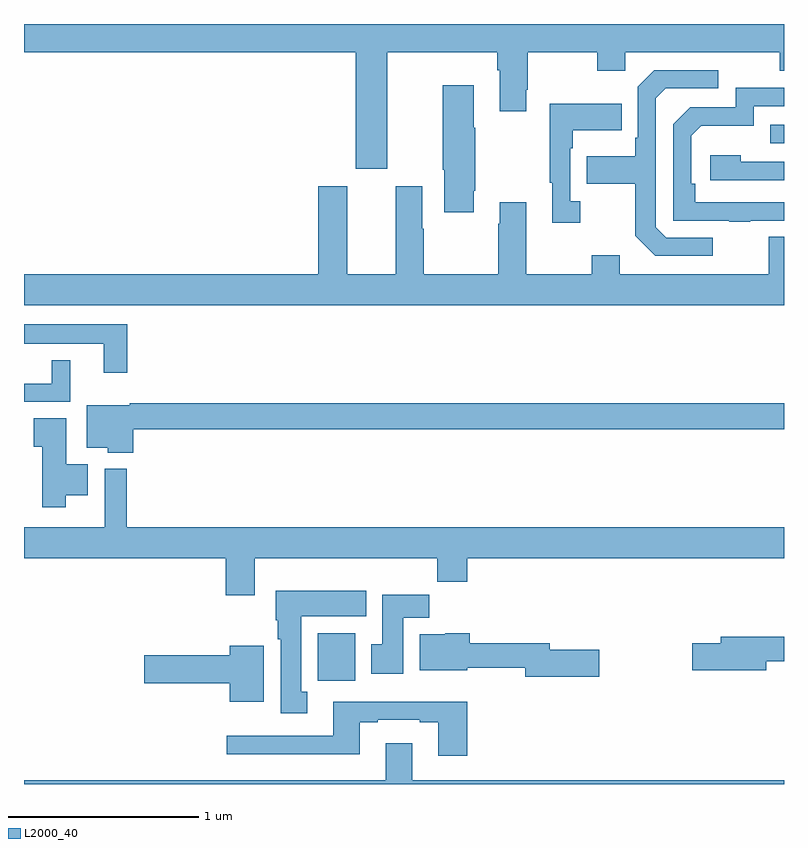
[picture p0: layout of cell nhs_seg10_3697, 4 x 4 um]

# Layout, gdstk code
import gdstk
lib = gdstk.Library(unit=1e-6, precision=1e-09)
def R(c, l, rs):  # rectangles x0, y0, x1, y1
    for r in rs: c.add(gdstk.rectangle(r[:2], r[2:], *l))
def P(c, l, *ps):  # polygons
    for p in ps: c.add(gdstk.Polygon(p, *l))
L2000_40 = (2000, 40)

nhs_seg10_3697 = lib.new_cell('nhs_seg10_3697')
R(nhs_seg10_3697, L2000_40, [(314.547,1261.044,314.743,1261.294), (316.927,1263.873,317,1263.969)])
P(nhs_seg10_3697, L2000_40, [(314.911,1264.352),(315.491,1264.352),(315.491,1264.256),(315.503,1264.256),(315.503,1264.041),(315.643,1264.041),(315.643,1264.153),(315.651,1264.153),(315.651,1264.352),(316.018,1264.352),(316.018,1264.253),(316.164,1264.253),(316.164,1264.352),(316.978,1264.352),(316.978,1264.253),(317,1264.253),(317,1264.5),(313,1264.5),(313,1264.352),(314.747,1264.352),(314.747,1263.738),(314.911,1263.738)],
  [(316.624,1263.375),(316.38,1263.375),(316.326,1263.429),(316.326,1264.11),(316.377,1264.161),(316.654,1264.161),(316.654,1264.257),(316.317,1264.257),(316.23,1264.17),(316.23,1263.901),(316.218,1263.901),(316.218,1263.805),(315.961,1263.805),(315.961,1263.658),(316.218,1263.658),(316.218,1263.385),(316.323,1263.279),(316.624,1263.279)],
  [(315.367,1263.622),(315.375,1263.622),(315.375,1263.953),(315.367,1263.953),(315.367,1264.177),(315.205,1264.177),(315.205,1263.733),(315.212,1263.733),(315.212,1263.51),(315.367,1263.51)],
  [(316.823,1263.465),(317,1263.465),(317,1263.561),(316.532,1263.561),(316.532,1263.658),(316.512,1263.658),(316.512,1263.912),(316.565,1263.965),(316.842,1263.965),(316.842,1264.068),(317,1264.068),(317,1264.164),(316.746,1264.164),(316.746,1264.062),(316.506,1264.062),(316.416,1263.972),(316.416,1263.465),(316.711,1263.465),(316.711,1263.46),(316.823,1263.46)],
  [(315.928,1263.566),(315.876,1263.566),(315.876,1263.845),(315.889,1263.845),(315.889,1263.941),(316.145,1263.941),(316.145,1264.081),(315.768,1264.081),(315.768,1263.665),(315.779,1263.665),(315.779,1263.453),(315.928,1263.453)],
  [(317,1263.774),(316.772,1263.774),(316.772,1263.808),(316.611,1263.808),(316.611,1263.678),(317,1263.678)],
  [(317,1263.379),(316.919,1263.379),(316.919,1263.184),(316.135,1263.184),(316.135,1263.283),(315.988,1263.283),(315.988,1263.184),(315.643,1263.184),(315.643,1263.562),(315.503,1263.562),(315.503,1263.449),(315.496,1263.449),(315.496,1263.184),(315.105,1263.184),(315.105,1263.422),(315.097,1263.422),(315.097,1263.646),(314.957,1263.646),(314.957,1263.184),(314.701,1263.184),(314.701,1263.646),(314.549,1263.646),(314.549,1263.184),(313,1263.184),(313,1263.02),(317,1263.02)],
  [(313.543,1262.92),(313,1262.92),(313,1262.816),(313.421,1262.816),(313.421,1262.664),(313.543,1262.664)],
  [(313.243,1262.731),(313.145,1262.731),(313.145,1262.607),(313,1262.607),(313,1262.511),(313.243,1262.511)],
  [(313.574,1262.368),(317,1262.368),(317,1262.504),(313.557,1262.504),(313.557,1262.494),(313.331,1262.494),(313.331,1262.27),(313.44,1262.27),(313.44,1262.243),(313.574,1262.243)],
  [(313.219,1262.021),(313.336,1262.021),(313.336,1262.182),(313.222,1262.182),(313.222,1262.426),(313.051,1262.426),(313.051,1262.275),(313.097,1262.275),(313.097,1261.956),(313.219,1261.956)],
  [(313.425,1262.158),(313.425,1261.852),(313,1261.852),(313,1261.688),(314.063,1261.688),(314.063,1261.494),(314.215,1261.494),(314.215,1261.688),(315.175,1261.688),(315.175,1261.564),(315.332,1261.564),(315.332,1261.688),(317,1261.688),(317,1261.852),(313.541,1261.852),(313.541,1262.158)],
  [(314.491,1260.985),(314.458,1260.985),(314.458,1261.382),(314.8,1261.382),(314.8,1261.516),(314.324,1261.516),(314.324,1261.362),(314.336,1261.362),(314.336,1261.262),(314.351,1261.262),(314.351,1260.873),(314.491,1260.873)],
  [(314.995,1261.376),(315.134,1261.376),(315.134,1261.495),(314.885,1261.495),(314.885,1261.236),(314.828,1261.236),(314.828,1261.08),(314.995,1261.08)],
  [(316.027,1261.206),(315.766,1261.206),(315.766,1261.24),(315.347,1261.24),(315.347,1261.294),(315.216,1261.294),(315.216,1261.288),(315.083,1261.288),(315.083,1261.1),(315.334,1261.1),(315.334,1261.111),(315.638,1261.111),(315.638,1261.064),(316.027,1261.064)],
  [(316.906,1261.147),(317,1261.147),(317,1261.276),(316.667,1261.276),(316.667,1261.242),(316.518,1261.242),(316.518,1261.1),(316.906,1261.1)],
  [(314.263,1261.228),(314.084,1261.228),(314.084,1261.178),(313.632,1261.178),(313.632,1261.031),(314.084,1261.031),(314.084,1260.932),(314.263,1260.932)],
  [(315.332,1260.934),(314.627,1260.934),(314.627,1260.753),(314.067,1260.753),(314.067,1260.656),(314.767,1260.656),(314.767,1260.825),(314.863,1260.825),(314.863,1260.837),(315.083,1260.837),(315.083,1260.825),(315.179,1260.825),(315.179,1260.648),(315.332,1260.648)],
  [(317,1260.52),(315.043,1260.52),(315.043,1260.715),(314.903,1260.715),(314.903,1260.52),(313,1260.52),(313,1260.5),(317,1260.5)])

lib.write_gds('nhs_seg10_3697.gds')
